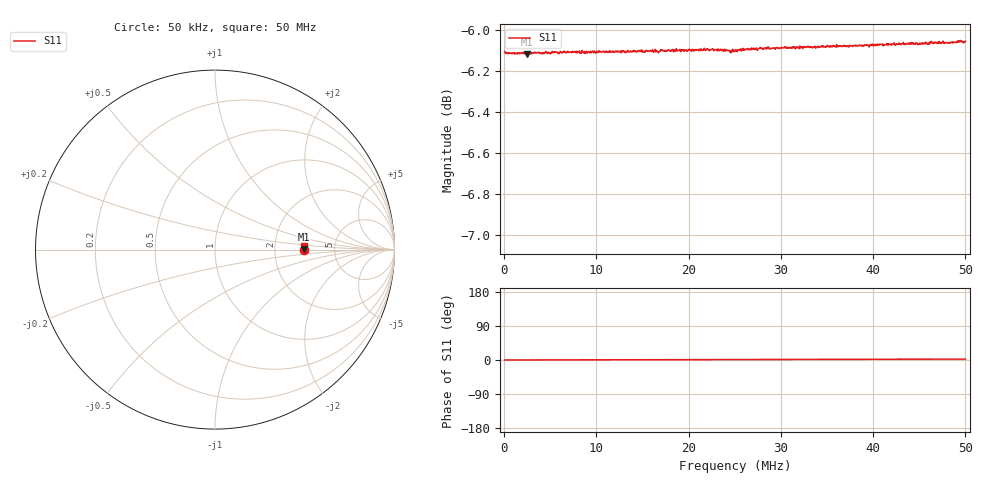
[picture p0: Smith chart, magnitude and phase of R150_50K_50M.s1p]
# HZ S RI R 50
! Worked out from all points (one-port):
!   1010 points, 50 kHz to 50 MHz, reference 50 ohm
!   lowest |S11| = -6.1 dB at 2.476 MHz (marker M1), VSWR 2.95, Z = 148 + j0.436 ohm
!   |S11| at or under -10 dB: nowhere
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50000  0.4951 -3.15e-05
644048  0.4946 0.00016
2475696  0.4943 0.00112
4109328  0.4944 0.00171
6337008  0.4947 0.00287
8812208  0.4945 0.00399
1.257451e7  0.4952 0.00526
1.584178e7  0.4953 0.00693
1.668334e7  0.4948 0.00678
1.722789e7  0.4952 0.00719
1.881202e7  0.4954 0.00779
2.183176e7  0.4953 0.00926
2.381192e7  0.4953 0.0101
2.445547e7  0.4949 0.00999
2.504952e7  0.4953 0.0111
2.569307e7  0.4951 0.0107
2.737621e7  0.4955 0.0116
2.787125e7  0.4958 0.0117
3.128702e7  0.496 0.0132
3.420776e7  0.4961 0.0146
3.663346e7  0.4962 0.0152
3.752453e7  0.4964 0.0158
4.376203e7  0.497 0.0184
4.495013e7  0.4968 0.0185
4.683128e7  0.4972 0.0197
4.876194e7  0.4972 0.0203
4.940549e7  0.4975 0.0205
4.999954e7  0.4975 0.0209
